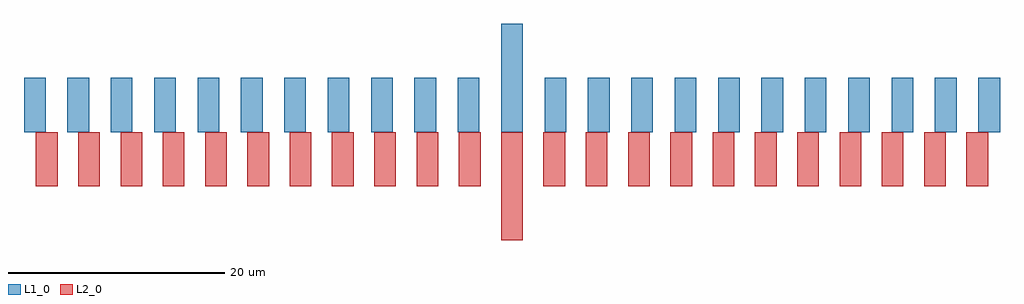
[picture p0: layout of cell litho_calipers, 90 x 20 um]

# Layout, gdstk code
import gdstk
lib = gdstk.Library(unit=1e-6, precision=1e-09)
def R(c, l, rs):  # rectangles x0, y0, x1, y1
    for r in rs: c.add(gdstk.rectangle(r[:2], r[2:], *l))
def A(c, l, x, y, w, h, nx, ny, dx, dy):  # array of equal rectangles
    R(c, l, [(x+i*dx, y+j*dy, x+i*dx+w, y+j*dy+h) for i in range(nx) for j in range(ny)])
L1_0 = (1, 0)
L2_0 = (2, 0)

litho_calipers = lib.new_cell('litho_calipers')
A(litho_calipers, L1_0, 0, 0, 2, 5, 23, 1, 4, 0)
R(litho_calipers, L1_0, [(44,5,46,10)])
A(litho_calipers, L2_0, 1.1, -5, 2, 5, 23, 1, 3.9, 0)
R(litho_calipers, L2_0, [(44,-10,46,-5)])

lib.write_gds('litho_calipers.gds')
